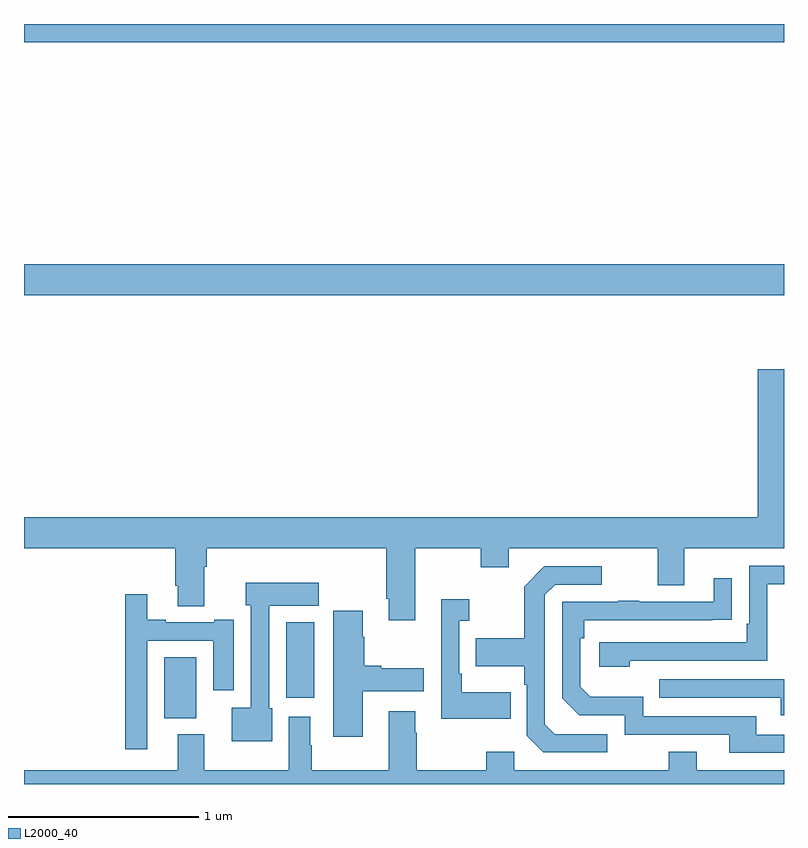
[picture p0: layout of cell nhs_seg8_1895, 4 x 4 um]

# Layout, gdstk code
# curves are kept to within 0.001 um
import gdstk
lib = gdstk.Library(unit=1e-6, precision=1e-09)
def R(c, l, rs):  # rectangles x0, y0, x1, y1
    for r in rs: c.add(gdstk.rectangle(r[:2], r[2:], *l))
def P(c, l, *ps):  # polygons
    for p in ps: c.add(gdstk.Polygon(p, *l))
L2000_40 = (2000, 40)

nhs_seg8_1895 = lib.new_cell('nhs_seg8_1895')
R(nhs_seg8_1895, L2000_40, [(231.737,1142.246,231.907,1142.566), (232.379,1142.355,232.528,1142.752), (231,1144.472,235,1144.636), (231,1145.804,235,1145.9)])
P(nhs_seg8_1895, L2000_40, [(233.059,1143.14),(233.404,1143.14),(233.404,1143.041),(233.551,1143.041),(233.551,1143.14),(234.335,1143.14),(234.335,1142.946),(234.475,1142.946),(234.475,1143.14),(235,1143.14),(235,1144.084),(234.863,1144.084),(234.863,1143.304),(231,1143.304),(231,1143.14),(231.797,1143.14),(231.797,1142.944),(231.809,1142.944),(231.809,1142.836),(231.949,1142.836),(231.949,1143.044),(231.962,1143.044),(231.962,1143.14),(232.907,1143.14),(232.907,1142.875),(232.919,1142.875),(232.919,1142.763),(233.059,1142.763)],
  [(234.188,1142.55),(234.912,1142.55),(234.912,1142.952),(235,1142.952),(235,1143.048),(234.816,1143.048),(234.816,1142.743),(234.803,1142.743),(234.803,1142.646),(234.027,1142.646),(234.027,1142.516),(234.188,1142.516)],
  [(234.07,1142.163),(233.793,1142.163),(233.742,1142.214),(233.742,1142.895),(233.796,1142.949),(234.04,1142.949),(234.04,1143.045),(233.739,1143.045),(233.634,1142.939),(233.634,1142.667),(233.377,1142.667),(233.377,1142.519),(233.634,1142.519),(233.634,1142.423),(233.646,1142.423),(233.646,1142.154),(233.733,1142.067),(234.07,1142.067)],
  [(235,1142.16),(234.853,1142.16),(234.853,1142.256),(234.258,1142.256),(234.258,1142.359),(233.981,1142.359),(233.928,1142.412),(233.928,1142.666),(233.948,1142.666),(233.948,1142.763),(234.725,1142.764),(234.725,1142.983),(234.629,1142.983),(234.629,1142.859),(234.239,1142.859),(234.239,1142.864),(234.127,1142.864),(234.127,1142.859),(233.832,1142.859),(233.832,1142.352),(233.922,1142.262),(234.162,1142.262),(234.162,1142.16),(234.713,1142.16),(234.713,1142.064),(235,1142.064)],
  [(232.306,1142.298),(232.29,1142.298),(232.29,1142.837),(232.551,1142.837),(232.551,1142.959),(232.166,1142.959),(232.166,1142.841),(232.194,1142.841),(232.194,1142.302),(232.094,1142.302),(232.094,1142.126),(232.306,1142.126)],
  [(231.648,1142.655),(231.995,1142.655),(231.995,1142.394),(232.105,1142.394),(232.105,1142.764),(232.001,1142.764),(232.001,1142.751),(231.745,1142.751),(231.745,1142.764),(231.649,1142.764),(231.649,1142.899),(231.532,1142.899),(231.532,1142.082),(231.648,1142.082)],
  [(233.561,1142.383),(233.305,1142.383),(233.305,1142.479),(233.292,1142.479),(233.292,1142.759),(233.344,1142.759),(233.344,1142.872),(233.195,1142.872),(233.195,1142.605),(233.196,1142.605),(233.196,1142.243),(233.561,1142.243)],
  [(232.783,1142.387),(233.104,1142.387),(233.104,1142.509),(232.879,1142.509),(232.879,1142.522),(232.791,1142.522),(232.791,1142.675),(232.783,1142.675),(232.783,1142.812),(232.628,1142.812),(232.628,1142.148),(232.783,1142.148)],
  [(235,1142.451),(234.343,1142.451),(234.343,1142.355),(234.983,1142.355),(234.983,1142.261),(235,1142.261)],
  [(235,1141.972),(234.541,1141.972),(234.541,1142.071),(234.394,1142.071),(234.394,1141.972),(233.58,1141.972),(233.58,1142.071),(233.434,1142.071),(233.434,1141.972),(233.067,1141.972),(233.067,1142.171),(233.059,1142.171),(233.059,1142.284),(232.919,1142.284),(232.919,1141.972),(232.515,1141.972),(232.515,1142.105),(232.507,1142.105),(232.507,1142.254),(232.394,1142.254),(232.394,1141.972),(231.949,1141.972),(231.949,1142.161),(231.809,1142.161),(231.809,1141.972),(231,1141.972),(231,1141.9),(235,1141.9)])

lib.write_gds('nhs_seg8_1895.gds')
